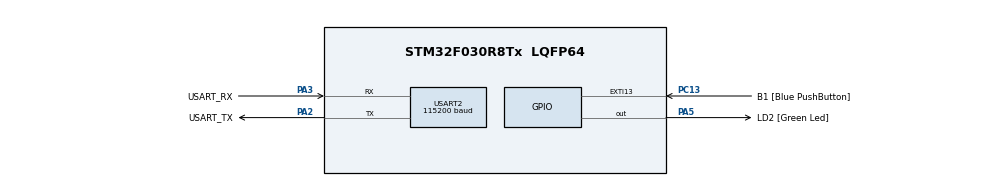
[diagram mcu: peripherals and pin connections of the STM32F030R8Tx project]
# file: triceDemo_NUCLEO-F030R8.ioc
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Mcu.Family=STM32F0
Mcu.Name=STM32F030R8Tx
Mcu.Package=LQFP64
NVIC.USART2_IRQn=true\:0\:0\:false\:false\:true\:true\:true
PA13.GPIO_Label=TMS
PA13.Mode=Serial_Wire
PA13.Signal=SYS_SWDIO
PA14.GPIO_Label=TCK
PA14.Mode=Serial_Wire
PA14.Signal=SYS_SWCLK
PA2.GPIO_Label=USART_TX
PA2.GPIO_Mode=GPIO_MODE_AF_PP
PA2.GPIO_PuPd=GPIO_NOPULL
PA2.GPIO_Speed=GPIO_SPEED_FREQ_LOW
PA2.Mode=Asynchronous
PA2.Signal=USART2_TX
PA3.GPIO_Label=USART_RX
PA3.GPIO_Mode=GPIO_MODE_AF_PP
PA3.GPIO_PuPd=GPIO_NOPULL
PA3.GPIO_Speed=GPIO_SPEED_FREQ_LOW
PA3.Mode=Asynchronous
PA3.Signal=USART2_RX
PA5.GPIO_Label=LD2 [Green Led]
PA5.GPIO_Mode=GPIO_MODE_OUTPUT_PP
PA5.GPIO_PuPd=GPIO_NOPULL
PA5.GPIO_Speed=GPIO_SPEED_FREQ_LOW
PA5.Signal=GPIO_Output
PC13.GPIO_Label=B1 [Blue PushButton]
PC13.GPIO_ModeDefaultEXTI=GPIO_MODE_IT_FALLING
PC13.Signal=GPXTI13
PC14-OSC32_IN.Mode=LSE-External-Oscillator
PC14-OSC32_IN.Signal=RCC_OSC32_IN
PC15-OSC32_OUT.Mode=LSE-External-Oscillator
PC15-OSC32_OUT.Signal=RCC_OSC32_OUT
PF0-OSC_IN.Mode=HSE-External-Clock-Source
PF0-OSC_IN.Signal=RCC_OSC_IN
PF1-OSC_OUT.Signal=RCC_OSC_OUT
ProjectManager.HeapSize=0x200
ProjectManager.StackSize=0x400
ProjectManager.TargetToolchain=MDK-ARM V5.27
RCC.AHBFreq_Value=48000000
RCC.APB1Freq_Value=48000000
RCC.APB1TimFreq_Value=48000000
RCC.HCLKFreq_Value=48000000
RCC.PLLMUL=RCC_PLL_MUL12
RCC.SYSCLKFreq_VALUE=48000000
RCC.SYSCLKSource=RCC_SYSCLKSOURCE_PLLCLK
USART2.BaudRate=115200
USART2.VirtualMode-Asynchronous=VM_ASYNC
board=NUCLEO-F030R8

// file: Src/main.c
/* USER CODE BEGIN Header */
/**
  ******************************************************************************
  * @file           : main.c
  * @brief          : Main program body
  ******************************************************************************
  * @attention
  *
  * <h2><center>&copy; Copyright (c) 2020 STMicroelectronics.
  * All rights reserved.</center></h2>
  *
  * This software component is licensed by ST under BSD 3-Clause license,
  * the "License"; You may not use this file except in compliance with the
  * License. You may obtain a copy of the License at:
  *                        opensource.org/licenses/BSD-3-Clause
  *
  ******************************************************************************
  */
/* USER CODE END Header */

#include "main.h"

/* USER CODE BEGIN Includes */
#include "trice.h"
/* USER CODE END Includes */

void SystemClock_Config(void);
static void MX_GPIO_Init(void);
static void MX_USART2_UART_Init(void);

int main(void)
{
  /* USER CODE BEGIN 1 */
#ifdef ENCRYPT
    InitXteaTable();
#endif
  /* USER CODE END 1 */

  /* MCU Configuration--------------------------------------------------------*/

  /* Reset of all peripherals, Initializes the Flash interface and the Systick. */

  LL_APB1_GRP2_EnableClock(LL_APB1_GRP2_PERIPH_SYSCFG);
  LL_APB1_GRP1_EnableClock(LL_APB1_GRP1_PERIPH_PWR);

  /* System interrupt init*/

  /* Configure the system clock */
  SystemClock_Config();

  /* USER CODE BEGIN SysInit */
    SysTick->CTRL |= SysTick_CTRL_TICKINT_Msk; // enable SysTick interrupt
  /* USER CODE END SysInit */

  /* Initialize all configured peripherals */
  MX_GPIO_Init();
  MX_USART2_UART_Init();
  /* USER CODE BEGIN 2 */
    LL_USART_EnableIT_RXNE(USART2); // enable UART2 interrupt
  /* USER CODE END 2 */

  /* Infinite loop */
  /* USER CODE BEGIN WHILE */
  TRICE0( Id(62503), "att:triceDemo_NUCLEO-F030RB_LL_MDK-ARM\n" );
    while (1)
    {
      //////////////////////////////////////////////////
      // demo trices
      //
      static uint32_t ms_1 = 0;
      if( ms >= ms_1 + 3000 ){ // every 3 sec
          void triceCheckSet( void );
          triceCheckSet();
          TRICE32_1( Id(29200), "time:ms = %d\n", ms );
          LL_GPIO_TogglePin(LD2_GPIO_Port, LD2_Pin);
          ms_1 = ms;
      }
      //
      //////////////////////////////////////////////////

      //////////////////////////////////////////////////
      // needed background activity
      //
        #ifdef LL_INTERFACE_NO_INTERRUPTS
        triceServeTransmission();
        #endif
      //
      //////////////////////////////////////////////////
    /* USER CODE END WHILE */

  }
}

void SystemClock_Config(void)
{
  LL_FLASH_SetLatency(LL_FLASH_LATENCY_1);

  if(LL_FLASH_GetLatency() != LL_FLASH_LATENCY_1)
  {
  Error_Handler();
  }
  LL_RCC_HSI_Enable();

   /* Wait till HSI is ready */
  while(LL_RCC_HSI_IsReady() != 1)
  {

  }
  LL_RCC_HSI_SetCalibTrimming(16);
  LL_RCC_PLL_ConfigDomain_SYS(LL_RCC_PLLSOURCE_HSI_DIV_2, LL_RCC_PLL_MUL_12);
  LL_RCC_PLL_Enable();

   /* Wait till PLL is ready */
  while(LL_RCC_PLL_IsReady() != 1)
  {

  }
  LL_RCC_SetAHBPrescaler(LL_RCC_SYSCLK_DIV_1);
  LL_RCC_SetAPB1Prescaler(LL_RCC_APB1_DIV_1);
  LL_RCC_SetSysClkSource(LL_RCC_SYS_CLKSOURCE_PLL);

   /* Wait till System clock is ready */
  while(LL_RCC_GetSysClkSource() != LL_RCC_SYS_CLKSOURCE_STATUS_PLL)
  {

  }
  LL_Init1msTick(48000000);
  LL_SYSTICK_SetClkSource(LL_SYSTICK_CLKSOURCE_HCLK);
  LL_SetSystemCoreClock(48000000);
}

static void MX_USART2_UART_Init(void)
{

  LL_USART_InitTypeDef USART_InitStruct = {0};

  LL_GPIO_InitTypeDef GPIO_InitStruct = {0};

  /* Peripheral clock enable */
  LL_APB1_GRP1_EnableClock(LL_APB1_GRP1_PERIPH_USART2);

  LL_AHB1_GRP1_EnableClock(LL_AHB1_GRP1_PERIPH_GPIOA);
  /**USART2 GPIO Configuration
  PA2   ------> USART2_TX
  PA3   ------> USART2_RX
  */
  GPIO_InitStruct.Pin = USART_TX_Pin;
  GPIO_InitStruct.Mode = LL_GPIO_MODE_ALTERNATE;
  GPIO_InitStruct.Speed = LL_GPIO_SPEED_FREQ_LOW;
  GPIO_InitStruct.OutputType = LL_GPIO_OUTPUT_PUSHPULL;
  GPIO_InitStruct.Pull = LL_GPIO_PULL_NO;
  GPIO_InitStruct.Alternate = LL_GPIO_AF_1;
  LL_GPIO_Init(USART_TX_GPIO_Port, &GPIO_InitStruct);

  GPIO_InitStruct.Pin = USART_RX_Pin;
  GPIO_InitStruct.Mode = LL_GPIO_MODE_ALTERNATE;
  GPIO_InitStruct.Speed = LL_GPIO_SPEED_FREQ_LOW;
  GPIO_InitStruct.OutputType = LL_GPIO_OUTPUT_PUSHPULL;
  GPIO_InitStruct.Pull = LL_GPIO_PULL_NO;
  GPIO_InitStruct.Alternate = LL_GPIO_AF_1;
  LL_GPIO_Init(USART_RX_GPIO_Port, &GPIO_InitStruct);

  /* USART2 interrupt Init */
  NVIC_SetPriority(USART2_IRQn, 0);
  NVIC_EnableIRQ(USART2_IRQn);

  USART_InitStruct.BaudRate = 115200;
  USART_InitStruct.DataWidth = LL_USART_DATAWIDTH_8B;
  USART_InitStruct.StopBits = LL_USART_STOPBITS_1;
  USART_InitStruct.Parity = LL_USART_PARITY_NONE;
  USART_InitStruct.TransferDirection = LL_USART_DIRECTION_TX_RX;
  USART_InitStruct.HardwareFlowControl = LL_USART_HWCONTROL_NONE;
  USART_InitStruct.OverSampling = LL_USART_OVERSAMPLING_16;
  LL_USART_Init(USART2, &USART_InitStruct);
  LL_USART_DisableIT_CTS(USART2);
  LL_USART_ConfigAsyncMode(USART2);
  LL_USART_Enable(USART2);

}

static void MX_GPIO_Init(void)
{
  LL_EXTI_InitTypeDef EXTI_InitStruct = {0};
  LL_GPIO_InitTypeDef GPIO_InitStruct = {0};

  /* GPIO Ports Clock Enable */
  LL_AHB1_GRP1_EnableClock(LL_AHB1_GRP1_PERIPH_GPIOC);
  LL_AHB1_GRP1_EnableClock(LL_AHB1_GRP1_PERIPH_GPIOF);
  LL_AHB1_GRP1_EnableClock(LL_AHB1_GRP1_PERIPH_GPIOA);

  /**/
  LL_GPIO_ResetOutputPin(LD2_GPIO_Port, LD2_Pin);

  /**/
  LL_SYSCFG_SetEXTISource(LL_SYSCFG_EXTI_PORTC, LL_SYSCFG_EXTI_LINE13);

  /**/
  LL_GPIO_SetPinPull(B1_GPIO_Port, B1_Pin, LL_GPIO_PULL_NO);

  /**/
  LL_GPIO_SetPinMode(B1_GPIO_Port, B1_Pin, LL_GPIO_MODE_INPUT);

  /**/
  EXTI_InitStruct.Line_0_31 = LL_EXTI_LINE_13;
  EXTI_InitStruct.LineCommand = ENABLE;
  EXTI_InitStruct.Mode = LL_EXTI_MODE_IT;
  EXTI_InitStruct.Trigger = LL_EXTI_TRIGGER_FALLING;
  LL_EXTI_Init(&EXTI_InitStruct);

  /**/
  GPIO_InitStruct.Pin = LD2_Pin;
  GPIO_InitStruct.Mode = LL_GPIO_MODE_OUTPUT;
  GPIO_InitStruct.Speed = LL_GPIO_SPEED_FREQ_LOW;
  GPIO_InitStruct.OutputType = LL_GPIO_OUTPUT_PUSHPULL;
  GPIO_InitStruct.Pull = LL_GPIO_PULL_NO;
  LL_GPIO_Init(LD2_GPIO_Port, &GPIO_InitStruct);

}

void Error_Handler(void)
{
}

/************************ (C) COPYRIGHT STMicroelectronics *****END OF FILE****/
